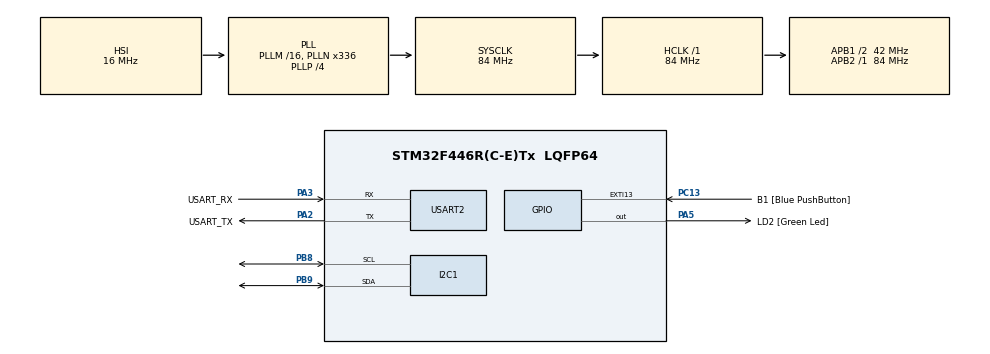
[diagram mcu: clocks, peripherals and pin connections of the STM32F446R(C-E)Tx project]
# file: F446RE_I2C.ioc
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Mcu.Family=STM32F4
Mcu.Name=STM32F446R(C-E)Tx
Mcu.Package=LQFP64
NVIC.PriorityGroup=NVIC_PRIORITYGROUP_0
PA13.GPIO_Label=TMS
PA13.Mode=Serial_Wire
PA13.Signal=SYS_JTMS-SWDIO
PA14.GPIO_Label=TCK
PA14.Mode=Serial_Wire
PA14.Signal=SYS_JTCK-SWCLK
PA2.GPIO_Label=USART_TX
PA2.Mode=Asynchronous
PA2.Signal=USART2_TX
PA3.GPIO_Label=USART_RX
PA3.Mode=Asynchronous
PA3.Signal=USART2_RX
PA5.GPIO_Label=LD2 [Green Led]
PA5.Signal=GPIO_Output
PB3.GPIO_Label=SWO
PB3.Signal=SYS_JTDO-SWO
PB8.Mode=I2C
PB8.Signal=I2C1_SCL
PB9.Mode=I2C
PB9.Signal=I2C1_SDA
PC13.GPIO_Label=B1 [Blue PushButton]
PC13.GPIO_ModeDefaultEXTI=GPIO_MODE_IT_FALLING
PC13.Signal=GPXTI13
PC14-OSC32_IN.Mode=LSE-External-Oscillator
PC14-OSC32_IN.Signal=RCC_OSC32_IN
PC15-OSC32_OUT.Mode=LSE-External-Oscillator
PC15-OSC32_OUT.Signal=RCC_OSC32_OUT
PH0-OSC_IN.Mode=HSE-External-Oscillator
PH0-OSC_IN.Signal=RCC_OSC_IN
PH1-OSC_OUT.Mode=HSE-External-Oscillator
PH1-OSC_OUT.Signal=RCC_OSC_OUT
ProjectManager.HeapSize=0x200
ProjectManager.StackSize=0x400
ProjectManager.TargetToolchain=STM32CubeIDE
RCC.48MHZClocksFreq_Value=84000000
RCC.AHBFreq_Value=84000000
RCC.APB1CLKDivider=RCC_HCLK_DIV2
RCC.APB1Freq_Value=42000000
RCC.APB1TimFreq_Value=84000000
RCC.APB2Freq_Value=84000000
RCC.APB2TimFreq_Value=84000000
RCC.CortexFreq_Value=84000000
RCC.FLatency-AdvancedSettings=FLASH_LATENCY_2
RCC.HCLKFreq_Value=84000000
RCC.HSE_VALUE=8000000
RCC.HSI_VALUE=16000000
RCC.PLLN=336
RCC.PLLP=RCC_PLLP_DIV4
RCC.SYSCLKFreq_VALUE=84000000
RCC.SYSCLKSource=RCC_SYSCLKSOURCE_PLLCLK
RCC.USBFreq_Value=168000000
RCC.VCOOutputFreq_Value=336000000
USART2.VirtualMode=VM_ASYNC
board=NUCLEO-F446RE

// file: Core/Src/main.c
/* USER CODE BEGIN Header */
/**
  ******************************************************************************
  * @file           : main.c
  * @brief          : Main program body
  ******************************************************************************
  * @attention
  *
  * Copyright (c) 2022 STMicroelectronics.
  * All rights reserved.
  *
  * This software is licensed under terms that can be found in the LICENSE file
  * in the root directory of this software component.
  * If no LICENSE file comes with this software, it is provided AS-IS.
  *
  ******************************************************************************
  */
/* USER CODE END Header */
#include "main.h"

/* USER CODE BEGIN Includes */
#include <string.h>
#include <stdio.h>
/* USER CODE END Includes */

I2C_HandleTypeDef hi2c1;

UART_HandleTypeDef huart2;

/* USER CODE BEGIN PV */
static const uint8_t RTC_ADDR = 0x68 << 1;		// Direccion esclavo, desplazado 1 bit a izq.
static const uint8_t REG_SEC = 0x03;			// Registro del RTC - Segundos
static const uint8_t REG_MIN = 0x04;			// Registro del RTC - Minutos
static const uint8_t REG_HOUR = 0x05;			// Registro del RTC - Horas
/* USER CODE END PV */

void SystemClock_Config(void);
static void MX_GPIO_Init(void);
static void MX_USART2_UART_Init(void);
static void MX_I2C1_Init(void);

int main(void)
{
  /* USER CODE BEGIN 1 */
	HAL_StatusTypeDef ret;
	uint8_t buf[24];
	uint8_t time[3];
	uint8_t ini_time[] = {REG_SEC, 0x00, 0x00, 0x00};
  /* USER CODE END 1 */

  /* MCU Configuration--------------------------------------------------------*/

  /* Reset of all peripherals, Initializes the Flash interface and the Systick. */
  HAL_Init();

  /* Configure the system clock */
  SystemClock_Config();

  /* Initialize all configured peripherals */
  MX_GPIO_Init();
  MX_USART2_UART_Init();
  MX_I2C1_Init();

  /* Infinite loop */
  /* USER CODE BEGIN WHILE */
  while (1)
  {
	  buf[0] = REG_SEC;
	  ret = HAL_I2C_Master_Transmit(&hi2c1, RTC_ADDR, buf, 1, 100);
	  if (ret != HAL_OK) {
		  strcpy((char*)buf, "Error Transmision\r\n");
	  } else {
		  ret = HAL_I2C_Master_Receive(&hi2c1, RTC_ADDR, buf, 1, 100);
		  if (ret != HAL_OK) {
			  strcpy((char*)buf, "Error Recepcion S\r\n");
		  } else {
			  time[0]=buf[0];
		  }
		  ret = HAL_I2C_Mem_Read(&hi2c1, RTC_ADDR, REG_MIN, 1, buf, 1, 100);
		  if (ret != HAL_OK) {
			  strcpy((char*)buf, "Error Recepcion M\r\n");
		  } else {
			  time[1]=buf[0];
		  }
		  ret = HAL_I2C_Mem_Read(&hi2c1, RTC_ADDR, REG_HOUR, 1, buf, 1, 100);
		  if (ret != HAL_OK) {
		  strcpy((char*)buf, "Error Recepcion H\r\n");
		  } else {
			  time[2]=buf[0];
			  sprintf((char*)buf, "%02x:%02x:%02x\r\n", time[2] & 0x3F, time[1] & 0x7F, time[0] & 0x7F);
		  }
	  }

	  // strcpy((char*)buf, "Hello!\r\n");
	  HAL_UART_Transmit(&huart2, buf, strlen((char*)buf), HAL_MAX_DELAY);
	  HAL_Delay(1000);
    /* USER CODE END WHILE */

  }
}

void SystemClock_Config(void)
{
  RCC_OscInitTypeDef RCC_OscInitStruct = {0};
  RCC_ClkInitTypeDef RCC_ClkInitStruct = {0};

  /** Configure the main internal regulator output voltage
  */
  __HAL_RCC_PWR_CLK_ENABLE();
  __HAL_PWR_VOLTAGESCALING_CONFIG(PWR_REGULATOR_VOLTAGE_SCALE3);

  /** Initializes the RCC Oscillators according to the specified parameters
  * in the RCC_OscInitTypeDef structure.
  */
  RCC_OscInitStruct.OscillatorType = RCC_OSCILLATORTYPE_HSI;
  RCC_OscInitStruct.HSIState = RCC_HSI_ON;
  RCC_OscInitStruct.HSICalibrationValue = RCC_HSICALIBRATION_DEFAULT;
  RCC_OscInitStruct.PLL.PLLState = RCC_PLL_ON;
  RCC_OscInitStruct.PLL.PLLSource = RCC_PLLSOURCE_HSI;
  RCC_OscInitStruct.PLL.PLLM = 16;
  RCC_OscInitStruct.PLL.PLLN = 336;
  RCC_OscInitStruct.PLL.PLLP = RCC_PLLP_DIV4;
  RCC_OscInitStruct.PLL.PLLQ = 2;
  RCC_OscInitStruct.PLL.PLLR = 2;
  if (HAL_RCC_OscConfig(&RCC_OscInitStruct) != HAL_OK)
  {
    Error_Handler();
  }

  /** Initializes the CPU, AHB and APB buses clocks
  */
  RCC_ClkInitStruct.ClockType = RCC_CLOCKTYPE_HCLK|RCC_CLOCKTYPE_SYSCLK
                              |RCC_CLOCKTYPE_PCLK1|RCC_CLOCKTYPE_PCLK2;
  RCC_ClkInitStruct.SYSCLKSource = RCC_SYSCLKSOURCE_PLLCLK;
  RCC_ClkInitStruct.AHBCLKDivider = RCC_SYSCLK_DIV1;
  RCC_ClkInitStruct.APB1CLKDivider = RCC_HCLK_DIV2;
  RCC_ClkInitStruct.APB2CLKDivider = RCC_HCLK_DIV1;

  if (HAL_RCC_ClockConfig(&RCC_ClkInitStruct, FLASH_LATENCY_2) != HAL_OK)
  {
    Error_Handler();
  }
}

static void MX_I2C1_Init(void)
{

  hi2c1.Instance = I2C1;
  hi2c1.Init.ClockSpeed = 100000;
  hi2c1.Init.DutyCycle = I2C_DUTYCYCLE_2;
  hi2c1.Init.OwnAddress1 = 0;
  hi2c1.Init.AddressingMode = I2C_ADDRESSINGMODE_7BIT;
  hi2c1.Init.DualAddressMode = I2C_DUALADDRESS_DISABLE;
  hi2c1.Init.OwnAddress2 = 0;
  hi2c1.Init.GeneralCallMode = I2C_GENERALCALL_DISABLE;
  hi2c1.Init.NoStretchMode = I2C_NOSTRETCH_DISABLE;
  if (HAL_I2C_Init(&hi2c1) != HAL_OK)
  {
    Error_Handler();
  }

}

static void MX_USART2_UART_Init(void)
{

  huart2.Instance = USART2;
  huart2.Init.BaudRate = 115200;
  huart2.Init.WordLength = UART_WORDLENGTH_8B;
  huart2.Init.StopBits = UART_STOPBITS_1;
  huart2.Init.Parity = UART_PARITY_NONE;
  huart2.Init.Mode = UART_MODE_TX_RX;
  huart2.Init.HwFlowCtl = UART_HWCONTROL_NONE;
  huart2.Init.OverSampling = UART_OVERSAMPLING_16;
  if (HAL_UART_Init(&huart2) != HAL_OK)
  {
    Error_Handler();
  }

}

static void MX_GPIO_Init(void)
{
  GPIO_InitTypeDef GPIO_InitStruct = {0};

  /* GPIO Ports Clock Enable */
  __HAL_RCC_GPIOC_CLK_ENABLE();
  __HAL_RCC_GPIOH_CLK_ENABLE();
  __HAL_RCC_GPIOA_CLK_ENABLE();
  __HAL_RCC_GPIOB_CLK_ENABLE();

  /*Configure GPIO pin Output Level */
  HAL_GPIO_WritePin(LD2_GPIO_Port, LD2_Pin, GPIO_PIN_RESET);

  /*Configure GPIO pin : B1_Pin */
  GPIO_InitStruct.Pin = B1_Pin;
  GPIO_InitStruct.Mode = GPIO_MODE_IT_FALLING;
  GPIO_InitStruct.Pull = GPIO_NOPULL;
  HAL_GPIO_Init(B1_GPIO_Port, &GPIO_InitStruct);

  /*Configure GPIO pin : LD2_Pin */
  GPIO_InitStruct.Pin = LD2_Pin;
  GPIO_InitStruct.Mode = GPIO_MODE_OUTPUT_PP;
  GPIO_InitStruct.Pull = GPIO_NOPULL;
  GPIO_InitStruct.Speed = GPIO_SPEED_FREQ_LOW;
  HAL_GPIO_Init(LD2_GPIO_Port, &GPIO_InitStruct);

}

void Error_Handler(void)
{
  __disable_irq();
  while (1)
  {
  }
}
